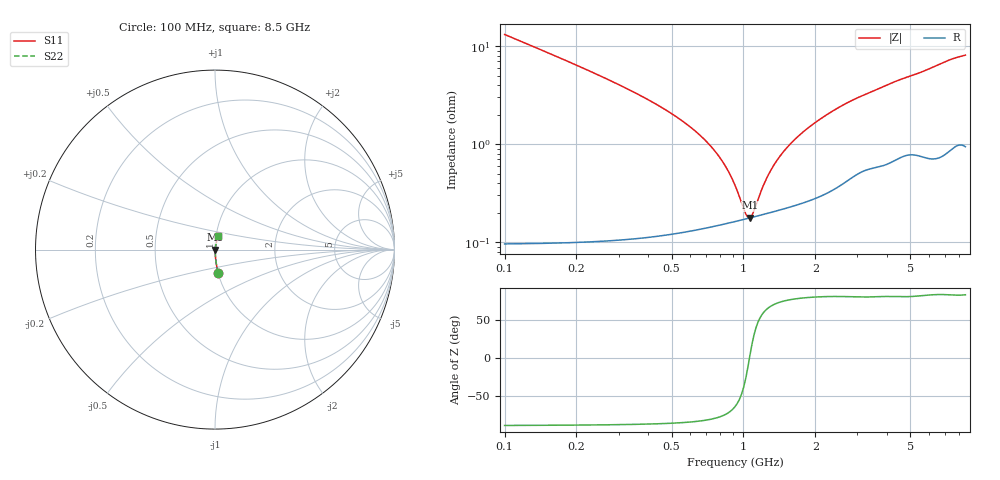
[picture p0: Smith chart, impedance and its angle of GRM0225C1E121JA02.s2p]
!Murata Part Number: GRM0225C1E121JA02
!These Parameters are Measured in Series Mode Connection
!Data Generated on Mar 30, 2021
!  o--ll--o
!Port1  Port2
!  o------o
!Operation Temp=25[degC], DC Bias Voltage=0[V]
!Freq. Start=100[MHz] Stop=9[GHz] 401[Steps]
# Hz S RI R 50
!Freq.(Hz) S11(Real) S11(Imag) S21(Real) S21(Imag) S12(Real) S12(Imag) S22(Real) S22(Imag)
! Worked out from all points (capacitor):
!   401 points, 100 MHz to 8.5 GHz, reference 50 ohm
!   read as one part in series: C = 120 pF near 142 MHz
!   lowest |Z| = 177 mohm at 1.066 GHz (marker M1)
!   series resonance near 1.061 GHz, so ESL is about 190 pH
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1e8  0.0179 -0.1289  0.9821 0.1289  0.9821 0.1289  0.0179 -0.1289
2.05e8  0.00483 -0.0618  0.9952 0.0618  0.9952 0.0618  0.00483 -0.0618
2.68e8  0.00315 -0.046  0.9968 0.046  0.9968 0.046  0.00315 -0.046
3.73e8  0.00205 -0.0309  0.9979 0.0309  0.9979 0.0309  0.00205 -0.0309
7.51e8  0.00152 -0.00864  0.9985 0.00864  0.9985 0.00864  0.00152 -0.00864
8.77e8  0.0016 -0.00468  0.9984 0.00468  0.9984 0.00468  0.0016 -0.00468
1.003e9  0.0017 -0.00136  0.9983 0.00136  0.9983 0.00136  0.0017 -0.00136
1.045e9  0.00175 -0.000358  0.9983 0.000358  0.9983 0.000358  0.00175 -0.000358
1.066e9  0.00177 0.000127  0.9982 -0.000127  0.9982 -0.000127  0.00177 0.000127
1.108e9  0.00181 0.00107  0.9982 -0.00107  0.9982 -0.00107  0.00181 0.00107
1.213e9  0.00193 0.00327  0.9981 -0.00327  0.9981 -0.00327  0.00193 0.00327
1.297e9  0.00202 0.00491  0.998 -0.00491  0.998 -0.00491  0.00202 0.00491
1.402e9  0.00215 0.00684  0.9978 -0.00684  0.9978 -0.00684  0.00215 0.00684
1.507e9  0.00229 0.00866  0.9977 -0.00866  0.9977 -0.00866  0.00229 0.00866
1.738e9  0.00261 0.0124  0.9974 -0.0124  0.9974 -0.0124  0.00261 0.0124
2.053e9  0.00315 0.0171  0.9969 -0.0171  0.9969 -0.0171  0.00315 0.0171
2.452e9  0.00406 0.0225  0.9959 -0.0225  0.9959 -0.0225  0.00406 0.0225
2.914e9  0.00548 0.028  0.9945 -0.028  0.9945 -0.028  0.00548 0.028
4.3e9  0.00854 0.0421  0.9915 -0.0421  0.9915 -0.0421  0.00854 0.0421
5.707e9  0.0102 0.0543  0.9898 -0.0543  0.9898 -0.0543  0.0102 0.0543
7.114e9  0.0128 0.0687  0.9872 -0.0687  0.9872 -0.0687  0.0128 0.0687
8.5e9  0.0156 0.0784  0.9844 -0.0784  0.9844 -0.0784  0.0156 0.0784
